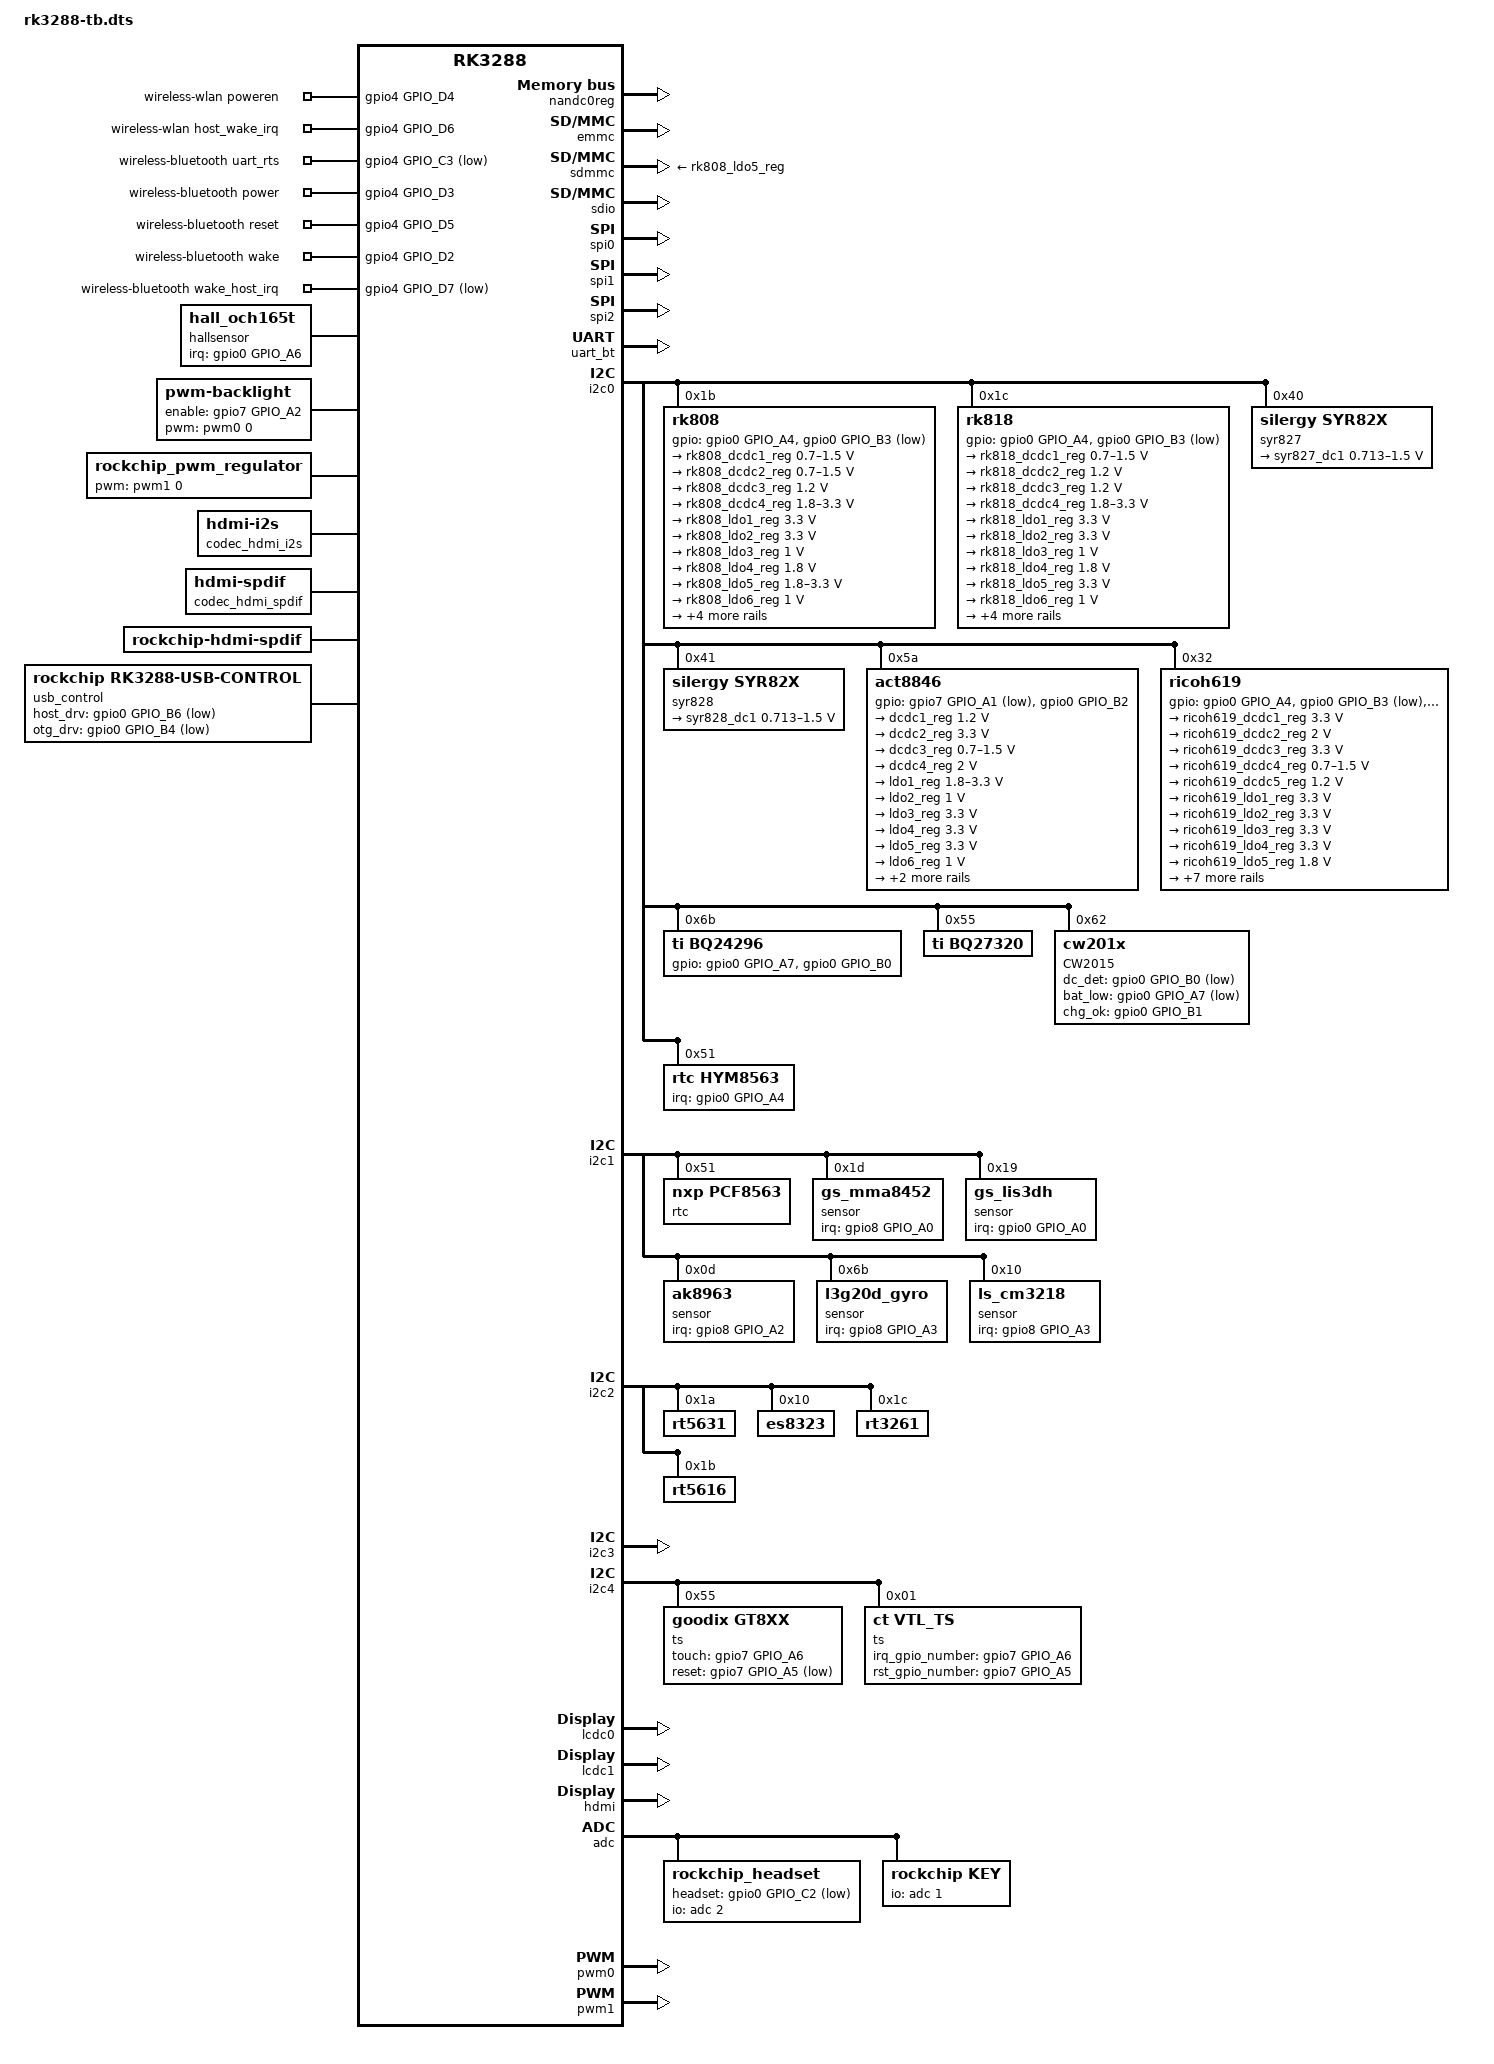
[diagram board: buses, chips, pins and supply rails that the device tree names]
// SPDX-License-Identifier: (GPL-2.0+ OR MIT)
/dts-v1/;

#include "rk3288.dtsi"
#include "lcd-b101ew05.dtsi"

/ {
	fiq-debugger {
		status = "okay";
	};

    wireless-wlan {
        compatible = "wlan-platdata";

        /* wifi_chip_type - wifi chip define
         * bcmwifi ==> like ap6xxx, rk90x;
         * rtkwifi ==> like rtl8188xx, rtl8723xx;
         * esp8089 ==> esp8089;
         * other   ==> for other wifi;
         */
        wifi_chip_type = "bcmwifi";

        sdio_vref = <1800>; //1800mv or 3300mv

        //keep_wifi_power_on;

        //power_ctrl_by_pmu;
        power_pmu_regulator = "act_ldo3";
        power_pmu_enable_level = <1>; //1->HIGH, 0->LOW

        //vref_ctrl_enable;
        //vref_ctrl_gpio = <&gpio0 GPIO_A2 GPIO_ACTIVE_HIGH>;
        vref_pmu_regulator = "act_ldo3";
        vref_pmu_enable_level = <1>; //1->HIGH, 0->LOW

        WIFI,poweren_gpio = <&gpio4 GPIO_D4 GPIO_ACTIVE_HIGH>;
        WIFI,host_wake_irq = <&gpio4 GPIO_D6 GPIO_ACTIVE_HIGH>;
        //WIFI,reset_gpio = <&gpio0 GPIO_A2 GPIO_ACTIVE_LOW>;

        status = "okay";
    };

    wireless-bluetooth {
        compatible = "bluetooth-platdata";

        //wifi-bt-power-toggle;

        uart_rts_gpios = <&gpio4 GPIO_C3 GPIO_ACTIVE_LOW>;
        pinctrl-names = "default","rts_gpio";
        pinctrl-0 = <&uart0_rts>;
        pinctrl-1 = <&uart0_rts_gpio>;

        BT,power_gpio = <&gpio4 GPIO_D3 GPIO_ACTIVE_HIGH>;
        BT,reset_gpio = <&gpio4 GPIO_D5 GPIO_ACTIVE_HIGH>;
        BT,wake_gpio = <&gpio4 GPIO_D2 GPIO_ACTIVE_HIGH>;
        BT,wake_host_irq = <&gpio4 GPIO_D7 GPIO_ACTIVE_LOW>;

        status = "okay";
    };

    hallsensor {
               compatible = "hall_och165t";
               type = <SENSOR_TYPE_HALL>;
               irq-gpio = <&gpio0 GPIO_A6 IRQ_TYPE_EDGE_BOTH>;
     };

	backlight {
		compatible = "pwm-backlight";
		pwms = <&pwm0 0 25000>;
		brightness-levels = <0 1 2 3 4 5 6 7 8 9 10 11 12 13 14 15 16 17 18 19 20 21 22 23 24 25 26 27 28 29 30 31 32 33 34 35 36 37 38 39 40 41 42 43 44 45 46 47 48 49 50 51 52 53 54 55 56 57 58 59 60 61 62 63 64 65 66 67 68 69 70 71 72 73 74 75 76 77 78 79 80 81 82 83 84 85 86 87 88 89 90 91 92 93 94 95 96 97 98 99 100 101 102 103 104 105 106 107 108 109 110 111 112 113 114 115 116 117 118 119 120 121 122 123 124 125 126 127 128 129 130 131 132 133 134 135 136 137 138 139 140 141 142 143 144 145 146 147 148 149 150 151 152 153 154 155 156 157 158 159 160 161 162 163 164 165 166 167 168 169 170 171 172 173 174 175 176 177 178 179 180 181 182 183 184 185 186 187 188 189 190 191 192 193 194 195 196 197 198 199 200 201 202 203 204 205 206 207 208 209 210 211 212 213 214 215 216 217 218 219 220 221 222 223 224 225 226 227 228 229 230 231 232 233 234 235 236 237 238 239 240 241 242 243 244 245 246 247 248 249 250 251 252 253 254 255>;
		default-brightness-level = <128>;
		enable-gpios = <&gpio7 GPIO_A2 GPIO_ACTIVE_HIGH>;
	};

	pwm_regulator {
		compatible = "rockchip_pwm_regulator";
		pwms = <&pwm1 0 2000>;
		rockchip,pwm_id= <1>;
		rockchip,pwm_voltage_map= <925000 950000 975000 1000000 1025000 1050000 1075000 1100000 1125000 1150000 1175000 1200000 1225000 1250000 1275000 1300000 1325000 1350000 1375000 1400000>;
		rockchip,pwm_voltage= <1000000>;
		rockchip,pwm_min_voltage= <925000>;
		rockchip,pwm_max_voltage= <1400000>;
		rockchip,pwm_suspend_voltage= <950000>;
		rockchip,pwm_coefficient= <475>;
		regulators {
			#address-cells = <1>;
			#size-cells = <0>;
			pwm_reg0: regulator@0 {
				regulator-compatible = "pwm_dcdc1";
				regulator-name= "vdd_logic";
				regulator-min-microvolt = <925000>;
				regulator-max-microvolt = <1400000>;
				regulator-always-on;
				regulator-boot-on;
			};
		};
	};

	codec_hdmi_i2s: codec-hdmi-i2s {
		compatible = "hdmi-i2s";
	};

	codec_hdmi_spdif: codec-hdmi-spdif {
		compatible = "hdmi-spdif";
	};

	rockchip-hdmi-i2s {
		compatible = "rockchip-hdmi-i2s";
		dais {
			dai0 {
				audio-codec = <&codec_hdmi_i2s>;
				audio-controller = <&i2s>;
				format = "i2s";
				//continuous-clock;
				//bitclock-inversion;
				//frame-inversion;
				//bitclock-master;
				//frame-master;
			};
		};
	};
	
	rockchip-hdmi-spdif {
		compatible = "rockchip-hdmi-spdif";
		dais {
			dai0 {
				audio-codec = <&codec_hdmi_spdif>;
				audio-controller = <&spdif>;
			};
		};
	};

	rockchip-rt5631 {
		compatible = "rockchip-rt5631";
		dais {
			dai0 {
				audio-codec = <&rt5631>;
				audio-controller = <&i2s>;
				format = "i2s";
				//continuous-clock;
				//bitclock-inversion;
				//frame-inversion;
				//bitclock-master;
				//frame-master;
			};
		};
	};

	rockchip-rt3224 {
		compatible = "rockchip-rt3261";
		dais {
			dai0 {
				audio-codec = <&rt3261>;
				audio-controller = <&i2s>;
				format = "i2s";
				//continuous-clock;
				//bitclock-inversion;
				//frame-inversion;
				//bitclock-master;
				//frame-master;
			};
			dai1 {
				audio-codec = <&rt3261>;
				audio-controller = <&i2s>;
				format = "dsp_a";
				//continuous-clock;
				bitclock-inversion;
				//frame-inversion;
				//bitclock-master;
				//frame-master;
			};
		};
	};

	usb_control {
		compatible = "rockchip,rk3288-usb-control";

		host_drv_gpio = <&gpio0 GPIO_B6 GPIO_ACTIVE_LOW>;
		otg_drv_gpio = <&gpio0 GPIO_B4 GPIO_ACTIVE_LOW>;

		rockchip,remote_wakeup;
		rockchip,usb_irq_wakeup;
	};
};

&gmac {
//	power_ctl_by = "gpio";	//"gpio" "pmu"
	power-gpio = <&gpio0 GPIO_A6 GPIO_ACTIVE_HIGH>;
//	power-pmu = "act_ldo"
	reset-gpio = <&gpio4 GPIO_A7 GPIO_ACTIVE_LOW>;
	status = "disabled";  //if want to use gmac, please set "okay"
};

&pinctrl {
	//used for init some gpio
	init-gpios = <&gpio0 GPIO_A6 GPIO_ACTIVE_HIGH
			/*&gpio0 GPIO_C2 GPIO_ACTIVE_HIGH */
			/*&gpio7 GPIO_B7 GPIO_ACTIVE_LOW */>;
	
	gpio0_gpio {
			gpio0_c2: gpio0-c2 {
				rockchip,pins = <GPIO0_C2>;
				rockchip,pull = <VALUE_PULL_DOWN>;
			};

			//to add
		};
		
	gpio7_gpio {
			gpio7_b7: gpio7-b7 {
				rockchip,pins = <GPIO7_B7>;
				rockchip,pull = <VALUE_PULL_UP>;
			};

			//to add
		};
		
	//could add other pinctrl definition such as gpio

};

&nandc0 {
	status = "disabled"; // used nand set "disabled" ,used emmc set "okay"
};
&nandc1 {
	status = "disabled"; // used nand set "disabled" ,used emmc set "okay"
};   

&nandc0reg {
	status = "okay"; // used nand set "disabled" ,used emmc set "okay"
};

&emmc {
	clock-frequency = <100000000>;
	clock-freq-min-max = <400000 100000000>;

        supports-highspeed;
	supports-emmc;
	//supports-sd;
        bootpart-no-access;
	
	//supports-DDR_MODE; //you should set the two value in your project. only close in RK3288-SDK board.
	//caps2-mmc-hs200;

        ignore-pm-notify;
	keep-power-in-suspend;
	
	//poll-hw-reset 
	status = "okay";
};
    
&sdmmc {
		clock-frequency = <50000000>;
		clock-freq-min-max = <400000 50000000>;
		supports-highspeed;
		supports-sd;
		broken-cd;
		card-detect-delay = <200>;

		ignore-pm-notify;
        	keep-power-in-suspend;
	
        	vmmc-supply = <&rk808_ldo5_reg>;
		status = "okay";
};
		
&sdio {
		clock-frequency = <50000000>;
		clock-freq-min-max = <200000 50000000>;
		supports-highspeed;
		supports-sdio;
		ignore-pm-notify;
		keep-power-in-suspend;
		//cap-sdio-irq;
		status = "okay";
};

&spi0 {
	status = "okay";
	max-freq = <48000000>;	
	/*
	spi_test@00 {
     		compatible = "rockchip,spi_test_bus0_cs0";
                reg = <0>;
                spi-max-frequency = <24000000>;
                //spi-cpha;
		//spi-cpol;
                poll_mode = <0>;
	        type = <0>;
		enable_dma = <0>;

	};

	spi_test@01 {
	        compatible = "rockchip,spi_test_bus0_cs1";
	        reg = <1>;
	        spi-max-frequency = <24000000>;
	        spi-cpha;
		spi-cpol;
	        poll_mode = <0>;
	        type = <0>;
		enable_dma = <0>;	        
	};
	*/
};

&spi1 {
	status = "okay";
	max-freq = <48000000>;
	/*
	spi_test@10 {
	        compatible = "rockchip,spi_test_bus1_cs0";
	        reg = <0>;
	        spi-max-frequency = <24000000>;
	        //spi-cpha;
		//spi-cpol;
	        poll_mode = <0>;
	        type = <0>;
		enable_dma = <0>;
	};

	*/
};

&spi2 {
	status = "okay";
	max-freq = <48000000>;
	/*
	spi_test@20 {
	        compatible = "rockchip,spi_test_bus2_cs0";
	        reg = <0>;
	        spi-max-frequency = <24000000>;
	        //spi-cpha;
		//spi-cpol;
	        poll_mode = <0>;
	        type = <0>;
		enable_dma = <0>;
	};

	spi_test@21 {
	        compatible = "rockchip,spi_test_bus2_cs1";
	        reg = <1>;
	        spi-max-frequency = <24000000>;
	        //spi-cpha;
		//spi-cpol;
	        poll_mode = <0>;
	        type = <0>;
		enable_dma = <0>;
	};
	*/
};

&uart_bt {
        status = "okay";
        dma-names = "!tx", "!rx";
        pinctrl-0 = <&uart0_xfer &uart0_cts>;
};

&i2c0 {
	status = "okay";
	rk808: rk808@1b {
		reg = <0x1b>;
		status = "okay";
	};
	rk818: rk818@1c {
		reg = <0x1c>;
		status = "okay";
 	};
		syr827: syr827@40 {
		compatible = "silergy,syr82x";
  	reg = <0x40>;
		status = "okay";
		regulators {
			#address-cells = <1>;
			#size-cells = <0>;	
			syr827_dc1: regulator@0 {
			reg = <0>;
			regulator-compatible = "syr82x_dcdc1";
			regulator-name = "vdd_arm";
			regulator-min-microvolt = <712500>;
			regulator-max-microvolt = <1500000>;
			regulator-always-on;
			regulator-boot-on;
			regulator-initial-mode = <0x2>;
			regulator-initial-state = <3>;
			regulator-state-mem {
				regulator-state-mode = <0x2>;
				regulator-state-disabled;
				regulator-state-uv = <900000>;
			};
		};
	   };
	};
	syr828: syr828@41 {
		compatible = "silergy,syr82x";
		reg = <0x41>;
		status = "okay";
		regulators {
			#address-cells = <1>;
			#size-cells = <0>;	
			syr828_dc1: regulator@0 {
			reg = <0>;
			regulator-compatible = "syr82x_dcdc1";
			regulator-name = "vdd_gpu";
			regulator-min-microvolt = <712500>;
			regulator-max-microvolt = <1500000>;
			regulator-always-on;
  		regulator-boot-on;
			regulator-initial-mode = <0x2>;
			regulator-initial-state = <3>;
			regulator-state-mem {
				regulator-state-mode = <0x2>;
				regulator-state-enabled;
				regulator-state-uv = <900000>;
			};	
		};
	   };
	};
	act8846: act8846@5a {
		reg = <0x5a>;
		status = "okay";
	};

	ricoh619: ricoh619@32 {
		reg = <0x32>;
 		status = "okay";
 	};
	bq24296: bq24296@6b {
		compatible = "ti,bq24296";
		reg = <0x6b>;
		gpios = <&gpio0 GPIO_A7 GPIO_ACTIVE_HIGH>,<&gpio0 GPIO_B0 GPIO_ACTIVE_HIGH>;
		bq24296,chg_current = <1000 2000 3000>;
		status = "okay";
	};
	
	bq27320: bq27320@55 {
		compatible = "ti,bq27320";
		reg = <0x55>;
	/*   gpios = <&gpio0 GPIO_A7 GPIO_ACTIVE_HIGH>; */
		status = "okay";
	};

	CW2015@62 {
		compatible = "cw201x";
		reg = <0x62>;
		dc_det_gpio = <&gpio0 GPIO_B0 GPIO_ACTIVE_LOW>;
		bat_low_gpio = <&gpio0 GPIO_A7 GPIO_ACTIVE_LOW>;
		chg_ok_gpio = <&gpio0 GPIO_B1 GPIO_ACTIVE_HIGH>;
		bat_config_info = <0x15 0x42 0x60 0x59 0x52 0x58 0x4D 0x48 0x48 0x44 0x44 0x46 0x49 0x48 0x32
			0x24 0x20 0x17 0x13 0x0F 0x19 0x3E 0x51 0x45 0x08 0x76 0x0B 0x85 0x0E 0x1C 0x2E 0x3E 0x4D 0x52 0x52
			0x57 0x3D 0x1B 0x6A 0x2D 0x25 0x43 0x52 0x87 0x8F 0x91 0x94 0x52 0x82 0x8C 0x92 0x96 0xFF 0x7B 0xBB
			0xCB 0x2F 0x7D 0x72 0xA5 0xB5 0xC1 0x46 0xAE>;
		is_dc_charge = <1>;
		is_usb_charge = <0>;
	};
	
	rtc@51 {
		compatible = "rtc,hym8563";
		reg = <0x51>;
		irq_gpio = <&gpio0 GPIO_A4 IRQ_TYPE_EDGE_FALLING>;
	};

};

&i2c1 {
	status = "okay";
	rtc@51 {
		compatible = "nxp,pcf8563";
		reg = <0x51>;
	};
	
	sensor@1d {
		compatible = "gs_mma8452";
		reg = <0x1d>;
		type = <SENSOR_TYPE_ACCEL>;
		irq-gpio = <&gpio8 GPIO_A0 IRQ_TYPE_EDGE_FALLING>;
		irq_enable = <1>;
		poll_delay_ms = <30>;
		layout = <1>;
	};
		sensor@19 {
		compatible = "gs_lis3dh";
		reg = <0x19>;
		type = <SENSOR_TYPE_ACCEL>;
		irq-gpio = <&gpio0 GPIO_A0 IRQ_TYPE_LEVEL_LOW>;
		irq_enable = <1>;
		poll_delay_ms = <30>;
		layout = <1>;
	};
		sensor@0d {
		compatible = "ak8963";
		reg = <0x0d>;
		type = <SENSOR_TYPE_COMPASS>;
		irq-gpio = <&gpio8 GPIO_A2 IRQ_TYPE_EDGE_RISING>;
		irq_enable = <1>;
		poll_delay_ms = <30>;
		layout = <1>;
	};

		sensor@6b {
		compatible = "l3g20d_gyro";
		reg = <0x6b>;
		type = <SENSOR_TYPE_GYROSCOPE>;
		irq-gpio = <&gpio8 GPIO_A3 IRQ_TYPE_LEVEL_LOW>;
		irq_enable = <1>;
		poll_delay_ms = <30>;
		layout = <1>;
	};
	sensor@10 {
              compatible = "ls_cm3218";
              reg = <0x10>;
              type = <SENSOR_TYPE_LIGHT>;
              irq-gpio = <&gpio8 GPIO_A3 IRQ_TYPE_EDGE_FALLING>;              
              irq_enable = <1>;
              poll_delay_ms = <30>;
              layout = <1>;
       };

    nfc-bcm2079x@76 {
        compatible = "nfc-bcm2079x.ap6441";
        reg = <0x76>;
        en_gpio = <&gpio4 GPIO_D3 GPIO_ACTIVE_HIGH>;
        wake_gpio = <&gpio5 GPIO_C0 GPIO_ACTIVE_HIGH>;
        irq_gpio = <&gpio5 GPIO_B7 IRQ_TYPE_EDGE_RISING>;
        status = "disabled";
    };
    nfc-bcm2079x@77 {
        compatible = "nfc-bcm2079x.ap6493";
        reg = <0x77>;
        en_gpio = <&gpio4 GPIO_D3 GPIO_ACTIVE_HIGH>;
        wake_gpio = <&gpio5 GPIO_C0 GPIO_ACTIVE_HIGH>;
        irq_gpio = <&gpio5 GPIO_B7 IRQ_TYPE_EDGE_RISING>;
        status = "disabled";
    };
};

&i2c2 {
	status = "okay";
	rt5631: rt5631@1a {
		compatible = "rt5631";
		reg = <0x1a>;
	};
	es8323: es8323@10 {
		compatible = "es8323";
		reg = <0x10>;
	};
	rt3261: rt3261@1c {
		compatible = "rt3261";
		reg = <0x1c>;
	//	codec-en-gpio = <0>;//sdk default high level
		spk-num= <2>;
		modem-input-mode = <1>;
		lout-to-modem_mode = <1>;
		spk-amplify = <2>;
		playback-if1-data_control = <0>;
		playback-if2-data_control = <0>;
	};
	rt5616: rt5616@1b {
		compatible = "rt5616";
		reg = <0x1b>;
	};
};

&i2c3 {
	status = "okay";
};

&i2c4 {
	status = "okay";
	ts@55 {
		compatible = "goodix,gt8xx";
		reg = <0x55>;
		touch-gpio = <&gpio7 GPIO_A6 IRQ_TYPE_LEVEL_LOW>;
		reset-gpio = <&gpio7 GPIO_A5 GPIO_ACTIVE_LOW>;
		//power-gpio = <&gpio0 GPIO_C5 GPIO_ACTIVE_LOW>;
		max-x = <1280>;
		max-y = <800>;
	};
	
	ts@01 {
		compatible = "ct,vtl_ts";
		reg = <0x01>;
		screen_max_x = <2048>;
		screen_max_y = <1536>;
		irq_gpio_number = <&gpio7 GPIO_A6 IRQ_TYPE_LEVEL_LOW>;
		rst_gpio_number = <&gpio7 GPIO_A5 GPIO_ACTIVE_HIGH>;
	};
};

&i2c5 {
	status = "disable";
};

&fb {
	rockchip,disp-mode = <DUAL>;
	rockchip,uboot-logo-on = <1>;
};

&rk_screen {
	 display-timings = <&disp_timings>;
};

/*lcdc0 as PRMRY(LCD),lcdc1 as EXTEND(HDMI)*/
&lcdc0 {
	status = "okay";
	rockchip,mirror = <NO_MIRROR>;
	rockchip,cabc_mode = <0>;
	power_ctr: power_ctr {
		rockchip,debug = <0>;
		lcd_en:lcd_en {
			rockchip,power_type = <GPIO>;
			gpios = <&gpio7 GPIO_A3 GPIO_ACTIVE_HIGH>;
			rockchip,delay = <10>;
		};
		
		lcd_cs:lcd_cs {
			rockchip,power_type = <GPIO>;
			gpios = <&gpio7 GPIO_A4 GPIO_ACTIVE_HIGH>;
			rockchip,delay = <10>;
		};

		/*lcd_rst:lcd_rst {
			rockchip,power_type = <GPIO>;
			gpios = <&gpio3 GPIO_D6 GPIO_ACTIVE_HIGH>;
			rockchip,delay = <5>;
		};*/

	};
};

&lcdc1 {
	status = "okay";
	rockchip,mirror = <NO_MIRROR>;
};

&hdmi {
	status = "okay";
	rockchip,hdmi_video_source = <DISPLAY_SOURCE_LCDC1>;
};

&adc {
	status = "okay";

	rockchip_headset {
		compatible = "rockchip_headset";
		headset_gpio = <&gpio0 GPIO_C2 GPIO_ACTIVE_LOW>;
		pinctrl-names = "default";
		pinctrl-0 = <&gpio0_c2>;
		io-channels = <&adc 2>; 
       /*
               hook_gpio = ;
               hook_down_type = ; //interrupt hook key down status 
		*/       
       };

	key {
		compatible = "rockchip,key";
		io-channels = <&adc 1>;

		vol-up-key {
			linux,code = <115>;
			label = "volume up";
			rockchip,adc_value = <1>;
		};

		vol-down-key {
			linux,code = <114>;
			label = "volume down";
			rockchip,adc_value = <170>;
		};
		
		power-key {
			gpios = <&gpio0 GPIO_A5 GPIO_ACTIVE_LOW>;
			linux,code = <116>;
			label = "power";
			gpio-key,wakeup;
		};

		menu-key {
			linux,code = <59>;
			label = "menu";
			rockchip,adc_value = <355>;
		};

		home-key {
			linux,code = <102>;
			label = "home";
			rockchip,adc_value = <746>;
		};

		back-key {
			linux,code = <158>;
			label = "back";
			rockchip,adc_value = <560>;
		};

		camera-key {
			linux,code = <212>;
			label = "camera";
			rockchip,adc_value = <450>;
		};
	};
};

&pwm0 {
        status = "okay";
};

&pwm1 {
	status = "okay";
};


&clk_core_dvfs_table {
	operating-points = <
		/* KHz    uV */
		126000 850000
		216000 850000
		312000 850000
		408000 850000
		600000 900000
		696000 950000
		816000 1000000
		1008000 1050000
		1200000 1100000
		1416000 1200000
		>;
	status="okay";
};

&clk_gpu_dvfs_table {
	operating-points = <
		/* KHz    uV */
		100000 850000
		200000 900000
		300000 950000
		420000 1050000
		500000 1150000
		>;
	status="okay";
};

&clk_ddr_dvfs_table {
	operating-points = <
		/* KHz    uV */
		200000 950000
		300000 950000
		400000 1000000
		533000 1050000
		>;

	freq-table = <
		/*status		freq(KHz)*/
		SYS_STATUS_NORMAL	400000
		SYS_STATUS_SUSPEND	200000
		SYS_STATUS_VIDEO_1080P  240000
		SYS_STATUS_VIDEO_4K     400000
		SYS_STATUS_PERFORMANCE  528000
		SYS_STATUS_DUALVIEW	400000
		SYS_STATUS_BOOST	324000
		SYS_STATUS_ISP		533000
		>;
	bd-freq-table = <
		/* bandwidth   freq */
		5000           800000
		3500           456000
		2600           396000
		2000           324000
	>;
	auto-freq-table = <
		240000
		324000
		396000
		528000
		>;
	auto-freq=<1>;
	status="okay";
};
/include/ "act8846.dtsi"
&act8846 {
	gpios =<&gpio7 GPIO_A1 GPIO_ACTIVE_LOW>,<&gpio0 GPIO_B2 GPIO_ACTIVE_HIGH>;
	act8846,system-power-controller;

	regulators {
		
		dcdc1_reg: regulator@0{
			regulator-name= "act_dcdc1";
			regulator-min-microvolt = <1200000>;
			regulator-max-microvolt = <1200000>;
			regulator-always-on;
			regulator-boot-on;
		};

		dcdc2_reg: regulator@1 {
			regulator-name= "vccio";
			regulator-min-microvolt = <3300000>;
			regulator-max-microvolt = <3300000>;
			regulator-initial-state = <3>;
			regulator-state-mem {
				regulator-state-enabled;
				regulator-state-uv = <3300000>;
			};		
		};

		dcdc3_reg: regulator@2 {
			regulator-name= "vdd_logic";
			regulator-min-microvolt = <700000>;
			regulator-max-microvolt = <1500000>;
			regulator-initial-state = <3>;
			regulator-state-mem {
				regulator-state-enabled;
				regulator-state-uv = <1200000>;
			};		
		
		};

		dcdc4_reg: regulator@3 {
			regulator-name= "act_dcdc4";
			regulator-min-microvolt = <2000000>;
			regulator-max-microvolt = <2000000>;
				regulator-initial-state = <3>;
			regulator-state-mem {
				regulator-state-enabled;
				regulator-state-uv = <2000000>;
			};
		};

		ldo1_reg: regulator@4 {
			regulator-name= "vccio_sd";
			regulator-min-microvolt = <1800000>;
			regulator-max-microvolt = <3300000>;
			
		};

		ldo2_reg: regulator@5 {
			regulator-name= "act_ldo2";
			regulator-min-microvolt = <1000000>;
			regulator-max-microvolt = <1000000>;
		
		};

		ldo3_reg: regulator@6 {
			regulator-name= "act_ldo3";
			regulator-min-microvolt = <3300000>;
			regulator-max-microvolt = <3300000>;
			
		};

		ldo4_reg:regulator@7 {
			regulator-name= "act_ldo4";
			regulator-min-microvolt = <3300000>;
			regulator-max-microvolt = <3300000>;
		
		};

		ldo5_reg: regulator@8 {
			regulator-name= "act_ldo5";
			regulator-min-microvolt = <3300000>;
			regulator-max-microvolt = <3300000>;
		
		};

		ldo6_reg: regulator@9 {
			regulator-name= "act_ldo6";
			regulator-min-microvolt = <1000000>;
			regulator-max-microvolt = <1000000>;
			regulator-initial-state = <3>;
			regulator-state-mem {
				regulator-state-enabled;
			};
			
		};

		ldo7_reg: regulator@10 {
			regulator-name= "vcc_18";
			regulator-min-microvolt = <1800000>;
			regulator-max-microvolt = <1800000>;
			regulator-initial-state = <3>;
			regulator-state-mem {
				regulator-state-enabled;
			};
		
		};

		ldo8_reg: regulator@11 {
			regulator-name= "act_ldo8";
			regulator-min-microvolt = <1800000>;
			regulator-max-microvolt = <1800000>;
		
		};
	};
};


/include/ "rk808.dtsi"
&rk808 {
	gpios =<&gpio0 GPIO_A4 GPIO_ACTIVE_HIGH>,<&gpio0 GPIO_B3 GPIO_ACTIVE_LOW>;
	rk808,system-power-controller;

	regulators {
		
		rk808_dcdc1_reg: regulator@0{
			regulator-name= "vdd_arm";
			regulator-min-microvolt = <700000>;
			regulator-max-microvolt = <1500000>;
			regulator-always-on;
			regulator-boot-on;
			regulator-initial-mode = <0x2>;
			regulator-initial-state = <3>;
			regulator-state-mem {
				regulator-state-mode = <0x2>;
				regulator-state-disabled;
				regulator-state-uv = <900000>;
			};
		};

		rk808_dcdc2_reg: regulator@1 {
			regulator-name= "vdd_gpu";
			regulator-min-microvolt = <700000>;
			regulator-max-microvolt = <1500000>;
			/*regulator-always-on;*/
			/*regulator-boot-on;*/
			regulator-initial-mode = <0x2>;
			regulator-initial-state = <3>;
			regulator-state-mem {
				regulator-state-mode = <0x2>;
				regulator-state-disabled;
				regulator-state-uv = <900000>;
			};
		};

		rk808_dcdc3_reg: regulator@2 {
			regulator-name= "rk_dcdc3";
			regulator-min-microvolt = <1200000>;
			regulator-max-microvolt = <1200000>;
			regulator-always-on;
			regulator-boot-on;
			regulator-initial-mode = <0x2>;
			regulator-initial-state = <3>;
			regulator-state-mem {
				regulator-state-mode = <0x2>;
				regulator-state-enabled;
				regulator-state-uv = <1200000>;
			};
		};

		rk808_dcdc4_reg: regulator@3 {
			regulator-name= "vccio";
			regulator-min-microvolt = <1800000>;
			regulator-max-microvolt = <3300000>;
			regulator-always-on;
			regulator-boot-on;
			regulator-initial-mode = <0x2>;
			regulator-initial-state = <3>;
			regulator-state-mem {
				regulator-state-mode = <0x2>;
				regulator-state-enabled;
				regulator-state-uv = <2800000>;
			};
		};

		rk808_ldo1_reg: regulator@4 {
			regulator-name= "rk_ldo1";
			regulator-min-microvolt = <3300000>;
			regulator-max-microvolt = <3300000>;
			regulator-always-on;
			regulator-boot-on;
			regulator-initial-state = <3>;
			regulator-state-mem {
				regulator-state-enabled;
				regulator-state-uv = <3300000>;
			};
		};

		rk808_ldo2_reg: regulator@5 {
			regulator-name= "rk_ldo2";
			regulator-min-microvolt = <3300000>;
			regulator-max-microvolt = <3300000>;
			regulator-always-on;
			regulator-boot-on;
			regulator-initial-state = <3>;
			regulator-state-mem {
				regulator-state-enabled;
				regulator-state-uv = <3300000>;
			};
		};

		rk808_ldo3_reg: regulator@6 {
			regulator-name= "rk_ldo3";
			regulator-min-microvolt = <1000000>;
			regulator-max-microvolt = <1000000>;
			regulator-always-on;
			regulator-boot-on;
			regulator-initial-state = <3>;
			regulator-state-mem {
				regulator-state-enabled;
				regulator-state-uv = <1000000>;
			};
		};

		rk808_ldo4_reg:regulator@7 {
			regulator-name= "rk_ldo4";
			regulator-min-microvolt = <1800000>;
			regulator-max-microvolt = <1800000>;
			regulator-always-on;
			regulator-boot-on;
			regulator-initial-state = <3>;
			regulator-state-mem {
				regulator-state-disabled;
				regulator-state-uv = <1800000>;
			};
		};

		rk808_ldo5_reg: regulator@8 {
			regulator-name= "vcc_sd";
			regulator-min-microvolt = <1800000>;
			regulator-max-microvolt = <3300000>;
			regulator-always-on;
			regulator-boot-on;
			regulator-initial-state = <3>;
			regulator-state-mem {
				regulator-state-enabled;
				regulator-state-uv = <2800000>;
			};
		};

		rk808_ldo6_reg: regulator@9 {
			regulator-name= "rk_ldo6";
			regulator-min-microvolt = <1000000>;
			regulator-max-microvolt = <1000000>;
			regulator-always-on;
			regulator-boot-on;
			regulator-initial-state = <3>;
			regulator-state-mem {
				regulator-state-disabled;
				regulator-state-uv = <1000000>;
			};
		};

		rk808_ldo7_reg: regulator@10 {
			regulator-name= "rk_ldo7";
			regulator-min-microvolt = <1800000>;
			regulator-max-microvolt = <1800000>;
			regulator-always-on;
			regulator-boot-on;
			regulator-initial-state = <3>;
			regulator-state-mem {
				regulator-state-enabled;
				regulator-state-uv = <1800000>;
			};
		};

		rk808_ldo8_reg: regulator@11 {
			regulator-name= "rk_ldo8";
			regulator-min-microvolt = <3300000>;
			regulator-max-microvolt = <3300000>;
			regulator-always-on;
			regulator-boot-on;
			regulator-initial-state = <3>;
			regulator-state-mem {
				regulator-state-enabled;
				regulator-state-uv = <3300000>;
			};
		};

		rk808_ldo9_reg: regulator@12 {
			regulator-name= "rk_ldo9";
			regulator-always-on;
			regulator-boot-on;
			regulator-initial-state = <3>;
			regulator-state-mem {
				regulator-state-enabled;
			};
		};

		rk808_ldo10_reg: regulator@13 {
			regulator-name= "rk_ldo10";
			regulator-always-on;
			regulator-boot-on;
			regulator-initial-state = <3>;
			regulator-state-mem {
				regulator-state-disabled;
			};
		};
	};
};

/include/ "ricoh619.dtsi"
&ricoh619 {
	gpios =<&gpio0 GPIO_A4 GPIO_ACTIVE_HIGH>,<&gpio0 GPIO_B3 GPIO_ACTIVE_LOW>,<&gpio0 GPIO_B0 GPIO_ACTIVE_HIGH>;
	ricoh619,system-power-controller;
	
	regulators {
		ricoh619_dcdc1_reg: regulator@0 {
			regulator-name = "vccio";
			regulator-min-microvolt = <3300000>;
			regulator-max-microvolt = <3300000>;
			regulator-initial-mode = <0x2>;
			regulator-initial-state = <3>;
			regulator-state-mem {
				regulator-state-mode = <0x2>;
				regulator-state-enabled;
				regulator-state-uv = <2800000>;
			};	
		};
		ricoh619_dcdc2_reg: regulator@1 {
			regulator-name = "ricoh619_dcdc2";
			regulator-min-microvolt = <2000000>;
			regulator-max-microvolt = <2000000>;
			regulator-initial-mode = <0x2>;
			regulator-initial-state = <3>;
			regulator-state-mem {
				regulator-state-mode = <0x2>;
				regulator-state-enabled;
				regulator-state-uv = <2000000>;
			};	
		};
		ricoh619_dcdc3_reg: regulator@2 {
			regulator-name = "vcc_lcd";
			regulator-min-microvolt = <3300000>;
			regulator-max-microvolt = <3300000>;
			regulator-initial-mode = <0x2>;
			regulator-initial-state = <3>;
			regulator-state-mem {
				regulator-state-mode = <0x2>;
				regulator-state-enabled;
				regulator-state-uv = <3300000>;
			};	
		};
		ricoh619_dcdc4_reg: regulator@3 {
			regulator-name = "vdd_logic";
			regulator-min-microvolt = <700000>;
			regulator-max-microvolt = <1500000>;
			regulator-initial-mode = <0x2>;
			regulator-initial-state = <3>;
			regulator-state-mem {
				regulator-state-mode = <0x2>;
				regulator-state-enabled;
				regulator-state-uv = <900000>;
			};	
		};
		ricoh619_dcdc5_reg: regulator@4 {
			regulator-name = "vcc_ddr";
			regulator-min-microvolt = <1200000>;
			regulator-max-microvolt = <1200000>;
			regulator-initial-mode = <0x2>;
			regulator-initial-state = <3>;
			regulator-state-mem {
				regulator-state-mode = <0x2>;
				regulator-state-enabled;
				regulator-state-uv = <1200000>;
			};	
		};
		ricoh619_ldo1_reg: regulator@5  {
			regulator-name = "vccio_pmu";
			regulator-min-microvolt = <3300000>;
			regulator-max-microvolt = <3300000>;
			regulator-initial-state = <3>;
			regulator-state-mem {
				regulator-state-enabled;
				regulator-state-uv = <3300000>;
			};	
		};
		ricoh619_ldo2_reg: regulator@6  {
			regulator-name = "ricoh619_ldo2";
			regulator-min-microvolt = <3300000>;
			regulator-max-microvolt = <3300000>;
			regulator-initial-state = <3>;
			regulator-state-mem {
				regulator-state-enabled;
				regulator-state-uv = <3300000>;
			};
		};
		ricoh619_ldo3_reg: regulator@7  {
			regulator-name = "ricoh619_ldo3";
			regulator-min-microvolt = <3300000>;
			regulator-max-microvolt = <3300000>;
			regulator-initial-state = <3>;
			regulator-state-mem {
				regulator-state-enabled;
				regulator-state-uv = <3300000>;
			};
		};
		ricoh619_ldo4_reg: regulator@8  {
			regulator-name = "vcc_sd";
			regulator-min-microvolt = <3300000>;
			regulator-max-microvolt = <3300000>;
			regulator-initial-state = <3>;
			regulator-state-mem {
				regulator-state-enabled;
				regulator-state-uv = <3300000>;
			};
		};
		ricoh619_ldo5_reg: regulator@9  {
			regulator-name = "vcc_wl";
			regulator-min-microvolt = <1800000>;
			regulator-max-microvolt = <1800000>;
			regulator-initial-state = <3>;
			regulator-state-mem {
				regulator-state-enabled;
				regulator-state-uv = <1800000>;
			};
		};
		ricoh619_ldo6_reg: regulator@10  {
			regulator-name = "ricoh619_ldo6";
			regulator-min-microvolt = <1800000>;
			regulator-max-microvolt = <1800000>;
			regulator-initial-state = <3>;
			regulator-state-mem {
				regulator-state-enabled;
				regulator-state-uv = <1800000>;
			};
		};
		ricoh619_ldo7_reg: regulator@11  {
			regulator-name = "ricoh619_ldo7";
			regulator-min-microvolt = <1000000>;
			regulator-max-microvolt = <1000000>;
			regulator-initial-state = <3>;
			regulator-state-mem {
				regulator-state-enabled;
				regulator-state-uv = <1000000>;
			};
		};
		ricoh619_ldo8_reg: regulator@12  {
			regulator-name = "ricoh619_ldo8";
			regulator-min-microvolt = <3300000>;
			regulator-max-microvolt = <3300000>;
			regulator-initial-state = <3>;
			regulator-state-mem {
				regulator-state-enabled;
				regulator-state-uv = <3300000>;
			};
		};
		ricoh619_ldo9_reg: regulator@13  {
			regulator-name = "ricoh619_ldo9";
			regulator-min-microvolt = <1000000>;
			regulator-max-microvolt = <1000000>;
			regulator-initial-state = <3>;
			regulator-state-mem {
				regulator-state-enabled;
				regulator-state-uv = <1000000>;
			};
		};
		ricoh619_ldo10_reg: regulator@14  {
			regulator-name = "vcc_18";
			regulator-min-microvolt = <1800000>;
			regulator-max-microvolt = <1800000>;
			regulator-initial-state = <3>;
			regulator-state-mem {
				regulator-state-enabled;
				regulator-state-uv = <1800000>;
			};
		};
		ricoh619_ldortc1_reg: regulator@15  {
			regulator-name = "ricoh619_ldortc1";
			regulator-min-microvolt = < 3300000>;
			regulator-max-microvolt = <3300000>;
		};
		ricoh619_ldortc2_reg: regulator@16  {
			regulator-name = "ricoh619_ldortc2";
			regulator-min-microvolt = < 3300000>;
			regulator-max-microvolt = <3300000>;
		};
	};
};
/include/ "rk818.dtsi"
&rk818 {
	gpios =<&gpio0 GPIO_A4 GPIO_ACTIVE_HIGH>,<&gpio0 GPIO_B3 GPIO_ACTIVE_LOW>;
	rk818,system-power-controller;

	regulators {
		
		rk818_dcdc1_reg: regulator@0{
			regulator-name= "vdd_logic";
			regulator-min-microvolt = <700000>;
			regulator-max-microvolt = <1500000>;
			regulator-initial-mode = <0x2>;
			regulator-initial-state = <3>;
			regulator-state-mem {
				regulator-state-mode = <0x2>;
				regulator-state-enabled;
				regulator-state-uv = <900000>;
			};		
		};

		rk818_dcdc2_reg: regulator@1 {
			regulator-name= "rk818_dcdc2";
			regulator-min-microvolt = <1200000>;
			regulator-max-microvolt = <1200000>;	
			regulator-initial-mode = <0x2>;
			regulator-initial-state = <3>;
			regulator-state-mem {
				regulator-state-mode = <0x2>;
				regulator-state-enabled;
				regulator-state-uv = <1200000>;
			};	
		};

		rk818_dcdc3_reg: regulator@2 {
			regulator-name= "rk818_dcdc3";
			regulator-min-microvolt = <1200000>;
			regulator-max-microvolt = <1200000>;
				regulator-initial-mode = <0x2>;
			regulator-initial-state = <3>;
			regulator-state-mem {
				regulator-state-mode = <0x2>;
				regulator-state-enabled;
				regulator-state-uv = <1200000>;
			};	
		};

		rk818_dcdc4_reg: regulator@3 {
			regulator-name= "vccio";
			regulator-min-microvolt = <1800000>;
			regulator-max-microvolt = <3300000>;
			regulator-initial-mode = <0x2>;
			regulator-initial-state = <3>;
			regulator-state-mem {
				regulator-state-mode = <0x2>;
				regulator-state-enabled;
				regulator-state-uv = <2800000>;
			};	
		};

		rk818_ldo1_reg: regulator@4 {
			regulator-name= "rk818_ldo1";
			regulator-min-microvolt = <3300000>;
			regulator-max-microvolt = <3300000>;
			regulator-initial-state = <3>;
			regulator-state-mem {
				regulator-state-enabled;
				regulator-state-uv = <3300000>;
			};	
		};

		rk818_ldo2_reg: regulator@5 {
			regulator-name= "rk818_ldo2";
			regulator-min-microvolt = <3300000>;
			regulator-max-microvolt = <3300000>;
			regulator-initial-state = <3>;
			regulator-state-mem {
				regulator-state-enabled;
				regulator-state-uv = <3300000>;
			};	
		};

		rk818_ldo3_reg: regulator@6 {
			regulator-name= "rk818_ldo3";
			regulator-min-microvolt = <1000000>;
			regulator-max-microvolt = <1000000>;
			regulator-initial-state = <3>;
			regulator-state-mem {
				regulator-state-enabled;
				regulator-state-uv = <1000000>;
			};	
		};

		rk818_ldo4_reg:regulator@7 {
			regulator-name= "rk818_ldo4";
			regulator-min-microvolt = <1800000>;
			regulator-max-microvolt = <1800000>;
			regulator-initial-state = <3>;
			regulator-state-mem {
				regulator-state-disabled;
				regulator-state-uv = <1800000>;
			};
		};

		rk818_ldo5_reg: regulator@8 {
			regulator-name= "rk818_ldo5";
			regulator-min-microvolt = <3300000>;
			regulator-max-microvolt = <3300000>;
			regulator-initial-state = <3>;
			regulator-state-mem {
				regulator-state-enabled;
				regulator-state-uv = <3300000>;
			};
		};

		rk818_ldo6_reg: regulator@9 {
			regulator-name= "rk818_ldo6";
			regulator-min-microvolt = <1000000>;
			regulator-max-microvolt = <1000000>;
			regulator-initial-state = <3>;
			regulator-state-mem {
				regulator-state-disabled;
				regulator-state-uv = <1000000>;
			};	
		};

		rk818_ldo7_reg: regulator@10 {
			regulator-name= "rk818_ldo7";
			regulator-min-microvolt = <1800000>;
			regulator-max-microvolt = <1800000>;
			regulator-initial-state = <3>;
			regulator-state-mem {
				regulator-state-enabled;
				regulator-state-uv = <1800000>;
			};	
		};

		rk818_ldo8_reg: regulator@11 {
			regulator-name= "rk818_ldo8";
			regulator-min-microvolt = <1800000>;
			regulator-max-microvolt = <1800000>;
			regulator-initial-state = <3>;
			regulator-state-mem {
				regulator-state-enabled;
				regulator-state-uv = <1800000>;
			};	
		};
		rk818_ldo9_reg: regulator@12 {
			regulator-name= "vcc_sd";
			regulator-min-microvolt = <1800000>;
  		regulator-max-microvolt = <3300000>;
			regulator-initial-state = <3>;
			regulator-state-mem {
				regulator-state-enabled;
				regulator-state-uv = <3300000>;
			};
		};
		rk818_ldo10_reg: regulator@13 {
			regulator-name= "rk818_ldo10";
			regulator-state-mem {
				regulator-state-disabled;
			};
		};
	};
       battery {
		ocv_table = <3350 3677 3693 3719 3752 3770 3775 3778 3785 3796 3812 3839 3881 3907 3933 3958 3978 4033 4087 4123 4174>;
		design_capacity = <2100>;
		design_qmax = <2200>;
		max_overcharge = <100>;
		bat_res = <80>;
		max_input_currentmA  = <2000>;
		max_chrg_currentmA = <1800>;
		max_charge_voltagemV = <4200>;
		max_bat_voltagemV = <4200>;
		sleep_enter_current = <300>;
		sleep_exit_current = <300>;
		power_off_thresd = <3400>;
		chrg_diff_voltagemV = <0>;
		virtual_power = <1>;
		support_usb_adp = <0>;
		support_dc_adp = <1>;
		power_dc2otg = <0>;
		dc_det_gpio = <&gpio0 GPIO_B0 GPIO_ACTIVE_LOW>;
        };
};

&lcdc_vdd_domain {
	regulator-name = "vcc30_lcd";
	};
&dpio_vdd_domain{
	regulator-name = "vcc18_cif";	
	};
&flash0_vdd_domain{
	regulator-name = "vcc_flash";	
	};
&flash1_vdd_domain{
	regulator-name = "vcc_flash";			
	};
&apio3_vdd_domain{
	regulator-name = "vccio_wl";		
	};
&apio5_vdd_domain{
	regulator-name = "vccio";		
	};
&apio4_vdd_domain{
	regulator-name = "vccio";		
	};
&apio1_vdd_domain{
	regulator-name = "vccio";			
	};
&apio2_vdd_domain{
	regulator-name = "vccio";		
	};
&sdmmc0_vdd_domain{
	regulator-name = "vcc_sd";			
	};

&dwc_control_usb {
	usb_uart {
		status = "disabled";
	};
};
